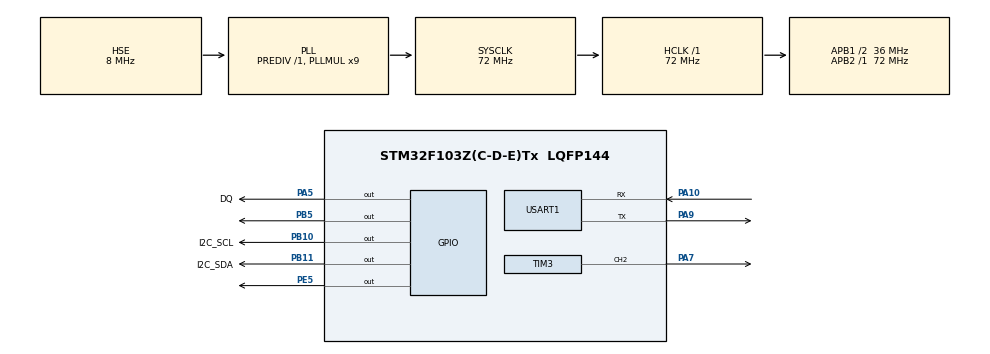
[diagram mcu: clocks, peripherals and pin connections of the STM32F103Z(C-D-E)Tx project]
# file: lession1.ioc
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Mcu.Family=STM32F1
Mcu.Name=STM32F103Z(C-D-E)Tx
Mcu.Package=LQFP144
NVIC.PriorityGroup=NVIC_PRIORITYGROUP_4
NVIC.USART1_IRQn=true\:0\:0\:false\:false\:true\:true\:true
OSC_IN.Mode=HSE-External-Oscillator
OSC_IN.Signal=RCC_OSC_IN
OSC_OUT.Mode=HSE-External-Oscillator
OSC_OUT.Signal=RCC_OSC_OUT
PA10.Mode=Asynchronous
PA10.Signal=USART1_RX
PA5.GPIO_Label=DQ
PA5.Signal=GPIO_Output
PA7.Signal=S_TIM3_CH2
PA9.Mode=Asynchronous
PA9.Signal=USART1_TX
PB10.GPIO_Label=I2C_SCL
PB10.Signal=GPIO_Output
PB11.GPIO_Label=I2C_SDA
PB11.Signal=GPIO_Output
PB5.Signal=GPIO_Output
PE5.Signal=GPIO_Output
ProjectManager.HeapSize=0x200
ProjectManager.StackSize=0x400
ProjectManager.TargetToolchain=MDK-ARM V5
RCC.AHBFreq_Value=72000000
RCC.APB1CLKDivider=RCC_HCLK_DIV2
RCC.APB1Freq_Value=36000000
RCC.APB1TimFreq_Value=72000000
RCC.APB2Freq_Value=72000000
RCC.APB2TimFreq_Value=72000000
RCC.HCLKFreq_Value=72000000
RCC.PLLMUL=RCC_PLL_MUL9
RCC.PLLSourceVirtual=RCC_PLLSOURCE_HSE
RCC.SYSCLKFreq_VALUE=72000000
RCC.SYSCLKSource=RCC_SYSCLKSOURCE_PLLCLK
RCC.USBFreq_Value=72000000
SH.S_TIM3_CH2.0=TIM3_CH2,PWM Generation2 CH2
TIM1.Prescaler=71
TIM3.Channel-PWM\ Generation2\ CH2=TIM_CHANNEL_2
TIM3.Period=999
TIM3.Prescaler=71
USART1.VirtualMode=VM_ASYNC
VP_SYS_VS_ND.Mode=No_Debug
VP_TIM1_VS_ClockSourceINT.Mode=Internal
VP_TIM3_VS_ClockSourceINT.Mode=Internal
board=custom

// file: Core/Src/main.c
/* USER CODE BEGIN Header */
/**
  ******************************************************************************
  * @file           : main.c
  * @brief          : Main program body
  ******************************************************************************
  * @attention
  *
  * <h2><center>&copy; Copyright (c) 2026 STMicroelectronics.
  * All rights reserved.</center></h2>
  *
  * This software component is licensed by ST under BSD 3-Clause license,
  * the "License"; You may not use this file except in compliance with the
  * License. You may obtain a copy of the License at:
  *                        opensource.org/licenses/BSD-3-Clause
  *
  ******************************************************************************
  */
/* USER CODE END Header */
#include "main.h"
#include "tim.h"
#include "usart.h"
#include "gpio.h"

/* USER CODE BEGIN Includes */
#include "oled.h"
#include "ds18b20.h"
#include "stdio.h"
#include "string.h"
/* USER CODE END Includes */

/* USER CODE BEGIN PTD */
typedef enum {
    MODE_OFF = 0,
    MODE_BOOT,
    MODE_MEASURE
} DisplayMode;
/* USER CODE END PTD */

/* USER CODE BEGIN PD */
#define PWM_STOP   999
#define PWM_LOW    200   // 约20%占空比
#define PWM_FULL   0   // 100%

// 红灯闪烁间隔(ms)
#define BLINK_INTERVAL 500
// 汉字字模索引（根据 oledfont.h 中顺序定义）
#define CHAR_WEN    0   // 温
#define CHAR_DU     1   // 度
#define CHAR_YI     2   // 异
#define CHAR_CHANG  3   // 常
#define CHAR_ZHENG  4   // 正
#define CHAR_XUE   6   // "学"
#define CHAR_HAO   7   // "号"
#define CHAR_XING  8   // "姓"
#define CHAR_MING  9   // "名"
#define CHAR_NIAN  10  // "年"
#define CHAR_JI    11  // "级"
#define CHAR_ZHUAN 12  // "专"
#define CHAR_YE    13  // "业"
#define CHAR_1 14  // "填你的名字"
#define CHAR_2   15  // "你的名字"记得看oledfont.h
#define CHAR_DIAN  16  // "电"
#define CHAR_ZI    17  // "子"
#define CHAR_FENG   20  // 风
#define CHAR_SU     21  // 速
#define CHAR_KONG   23  // 控
#define CHAR_BAO    24  // 报
#define CHAR_JING   25  // 警
#define CHAR_QI     26  // 器
#define CHAR_GUAN   27  // 关
#define CHAR_JII     28  // 机
/* USER CODE END PD */

/* USER CODE BEGIN PV */
float temp = 0.0f;
DisplayMode displayMode = MODE_BOOT;   // 默认开机界面
uint8_t uart_rx_data;                 // 串口接收单字节
uint32_t last_blink_time = 0;         // 用于红灯闪烁
uint8_t led_state = 0;                // 红灯当前状态（0灭，1亮），用于闪烁
/* USER CODE END PV */

void SystemClock_Config(void);

/* USER CODE BEGIN 0 */
void HAL_UART_RxCpltCallback(UART_HandleTypeDef *huart)
{
    if (huart->Instance == USART1)
    {
        switch (uart_rx_data)
        {
            case 's':  // 开机界面
                displayMode = MODE_BOOT;
                break;
            case 'm':  // 测温模式
                displayMode = MODE_MEASURE;
                break;
            case 'c':  // 关机
                displayMode = MODE_OFF;
                break;
            default:
                break;
        }
        // 重新开启单次接收
        HAL_UART_Receive_IT(&huart1, &uart_rx_data, 1);
    }
}
/**
  * @brief 显示开机界面（个人信息）
  */
void ShowBootScreen(void)
{
    OLED_Clear_Screen();
    // 第一行：学号：EIE24010
    OLED_Display_Char_16X16(0, 0, CHAR_XUE);
    OLED_Display_Char_16X16(0, 16, CHAR_HAO);
    OLED_Display_String_8X16(0, 32, (uint8_t*)":");
    OLED_Display_String_8X16(0, 40, (uint8_t*)"EIE24010");
	OLED_Display_Char_16X16(2, 0, CHAR_XING);
    OLED_Display_Char_16X16(2, 16, CHAR_MING);
    OLED_Display_String_8X16(2, 32, (uint8_t*)":");
    OLED_Display_Char_16X16(2, 40, CHAR_1);
    OLED_Display_Char_16X16(2, 56, CHAR_2);
	 OLED_Display_Char_16X16(4, 0, CHAR_ZHUAN);
    OLED_Display_Char_16X16(4, 16, CHAR_YE);
    OLED_Display_String_8X16(4, 32, (uint8_t*)":");
    OLED_Display_Char_16X16(4, 40, CHAR_DIAN);
    OLED_Display_Char_16X16(4, 56, CHAR_ZI);
	OLED_Display_Char_16X16(6, 0, CHAR_NIAN);
    OLED_Display_Char_16X16(6, 16, CHAR_JI);
    OLED_Display_String_8X16(6, 32, (uint8_t*)":");
    OLED_Display_String_8X16(6, 40, (uint8_t*)"2024");

    // 关闭风扇和灯
    __HAL_TIM_SET_COMPARE(&htim3, TIM_CHANNEL_2, PWM_STOP);
    HAL_GPIO_WritePin(GPIOB, GPIO_PIN_5, GPIO_PIN_SET);   // 红灯灭（高电平）
    HAL_GPIO_WritePin(GPIOE, GPIO_PIN_5, GPIO_PIN_SET);   // 另一个灯灭（若有）
}

/**
  * @brief 测温模式主逻辑（读取温度、控制风扇和红灯、刷新OLED）
  */
void MeasureMode(void)
{
    // 1. 读取温度
    temp = DS18B20_GetTemp_SkipRom();

    // 2. 根据温度控制风扇和红灯
    if (temp < 28.0f)
    {
        // 风扇停，红灯灭
        __HAL_TIM_SET_COMPARE(&htim3, TIM_CHANNEL_2, PWM_STOP);
        HAL_GPIO_WritePin(GPIOB, GPIO_PIN_5, GPIO_PIN_SET);
        // 复位闪烁状态
        led_state = 0;
    }
    else if (temp >= 28.0f && temp < 30.0f)
    {
        // 风扇低速，红灯常亮
        __HAL_TIM_SET_COMPARE(&htim3, TIM_CHANNEL_2, PWM_LOW);
        HAL_GPIO_WritePin(GPIOB, GPIO_PIN_5, GPIO_PIN_RESET);
        // 复位闪烁状态
        led_state = 0;
    }
		 else // temp >= 30.0f
    {
        // 风扇全速，红灯闪烁
        __HAL_TIM_SET_COMPARE(&htim3, TIM_CHANNEL_2, PWM_FULL);
        uint32_t now = HAL_GetTick();
        if (now - last_blink_time >= BLINK_INTERVAL)
        {
            last_blink_time = now;
            led_state = !led_state;                   // 翻转状态
            HAL_GPIO_WritePin(GPIOB, GPIO_PIN_5, led_state ? GPIO_PIN_RESET : GPIO_PIN_SET);
        }
    }
		 // 3. 更新OLED显示（每次清屏重绘，避免残影）
    OLED_Clear_Screen();

    // 标题
  OLED_Display_Char_16X16(0, 0, CHAR_WEN);
    OLED_Display_Char_16X16(0, 16, CHAR_KONG);
    OLED_Display_Char_16X16(0, 32, CHAR_QI);

    // 温度
   OLED_Display_Char_16X16(2, 0, CHAR_WEN);
    OLED_Display_Char_16X16(2, 16, CHAR_DU);
    OLED_Display_String_8X16(2, 32, (uint8_t*)":");
    char temp_str[20];
    sprintf(temp_str, "%.1f C", temp);
    OLED_Display_String_8X16(2, 40, (uint8_t*)temp_str);

    // 风速
		OLED_Display_Char_16X16(4, 0, CHAR_FENG);
    OLED_Display_Char_16X16(4, 16, CHAR_SU);
    OLED_Display_String_8X16(4, 32, (uint8_t*)":");
    uint16_t duty = __HAL_TIM_GET_COMPARE(&htim3, TIM_CHANNEL_2);
    char speed_str[20];
    if (duty == PWM_STOP)
        strcpy(speed_str, "Speed: 0");
    else if (duty == PWM_LOW)
        strcpy(speed_str, "Speed: 1");
    else
        strcpy(speed_str, "Speed: 2");
    OLED_Display_String_8X16(4, 0, (uint8_t*)speed_str);
 // 状态
    char status_str[20];
    if (temp < 28.0f)
		{
			OLED_Display_Char_16X16(6, 0, CHAR_ZHENG);
        OLED_Display_Char_16X16(6, 16, CHAR_CHANG);
		}

    else if (temp < 30.0f)
         {
        OLED_Display_Char_16X16(6, 0, CHAR_YI);
        OLED_Display_Char_16X16(6, 16, CHAR_CHANG);
    }
    else
       {
        OLED_Display_Char_16X16(6, 0, CHAR_BAO);
        OLED_Display_Char_16X16(6, 16, CHAR_JING);
    }
}

/**
  * @brief 关机模式
  */
void OffMode(void)
{
    OLED_Clear_Screen();
    OLED_Display_Char_16X16(0, 0, CHAR_GUAN);
    OLED_Display_Char_16X16(0, 16, CHAR_JII);
    __HAL_TIM_SET_COMPARE(&htim3, TIM_CHANNEL_2, PWM_STOP);
    HAL_GPIO_WritePin(GPIOB, GPIO_PIN_5, GPIO_PIN_SET);
    HAL_GPIO_WritePin(GPIOE, GPIO_PIN_5, GPIO_PIN_SET);
    led_state = 0;
}
/* USER CODE END 0 */

int main(void)
{

  /* MCU Configuration--------------------------------------------------------*/

  /* Reset of all peripherals, Initializes the Flash interface and the Systick. */
  HAL_Init();
SystemClock_Config();

  /* Configure the system clock */
  SystemClock_Config();

  /* Initialize all configured peripherals */
  MX_GPIO_Init();
  MX_TIM1_Init();
  MX_USART1_UART_Init();
  MX_TIM3_Init();
  /* USER CODE BEGIN 2 */
 OLED_Init();
  // 初始化DS18B20（等待成功）
    while (DS18B20_Init())
    {
        // 若初始化失败，可加入错误提示（此处简单等待）
        HAL_Delay(500);
    }
 // 启动PWM（默认占空比为0）
    HAL_TIM_PWM_Start(&htim3, TIM_CHANNEL_2);
    __HAL_TIM_SET_COMPARE(&htim3, TIM_CHANNEL_2, PWM_STOP);

    // 开启串口接收中断
    HAL_UART_Receive_IT(&huart1, &uart_rx_data, 1);

    // 初始显示开机界面
    ShowBootScreen();
  /* USER CODE END 2 */

  /* Infinite loop */
  /* USER CODE BEGIN WHILE */
   while (1)
    {
        switch (displayMode)
        {
            case MODE_BOOT:
                ShowBootScreen();
                // 开机界面无需频繁刷新，可加延时减少CPU占用
                HAL_Delay(500);
                break;
						case MODE_MEASURE:
                MeasureMode();
                HAL_Delay(200);   // 200ms刷新一次
                break;
            case MODE_OFF:
                OffMode();
                HAL_Delay(500);
                break;
            default:
                break;
        }
    /* USER CODE END WHILE */

			}
}

void SystemClock_Config(void)
{
  RCC_OscInitTypeDef RCC_OscInitStruct = {0};
  RCC_ClkInitTypeDef RCC_ClkInitStruct = {0};

  /** Initializes the RCC Oscillators according to the specified parameters
  * in the RCC_OscInitTypeDef structure.
  */
  RCC_OscInitStruct.OscillatorType = RCC_OSCILLATORTYPE_HSE;
  RCC_OscInitStruct.HSEState = RCC_HSE_ON;
  RCC_OscInitStruct.HSEPredivValue = RCC_HSE_PREDIV_DIV1;
  RCC_OscInitStruct.HSIState = RCC_HSI_ON;
  RCC_OscInitStruct.PLL.PLLState = RCC_PLL_ON;
  RCC_OscInitStruct.PLL.PLLSource = RCC_PLLSOURCE_HSE;
  RCC_OscInitStruct.PLL.PLLMUL = RCC_PLL_MUL9;
  if (HAL_RCC_OscConfig(&RCC_OscInitStruct) != HAL_OK)
  {
    Error_Handler();
  }
  /** Initializes the CPU, AHB and APB buses clocks
  */
  RCC_ClkInitStruct.ClockType = RCC_CLOCKTYPE_HCLK|RCC_CLOCKTYPE_SYSCLK
                              |RCC_CLOCKTYPE_PCLK1|RCC_CLOCKTYPE_PCLK2;
  RCC_ClkInitStruct.SYSCLKSource = RCC_SYSCLKSOURCE_PLLCLK;
  RCC_ClkInitStruct.AHBCLKDivider = RCC_SYSCLK_DIV1;
  RCC_ClkInitStruct.APB1CLKDivider = RCC_HCLK_DIV2;
  RCC_ClkInitStruct.APB2CLKDivider = RCC_HCLK_DIV1;

  if (HAL_RCC_ClockConfig(&RCC_ClkInitStruct, FLASH_LATENCY_2) != HAL_OK)
  {
    Error_Handler();
  }
}

void Error_Handler(void)
{
  __disable_irq();
  while (1)
  {
  }
}

/************************ (C) COPYRIGHT STMicroelectronics *****END OF FILE****/
